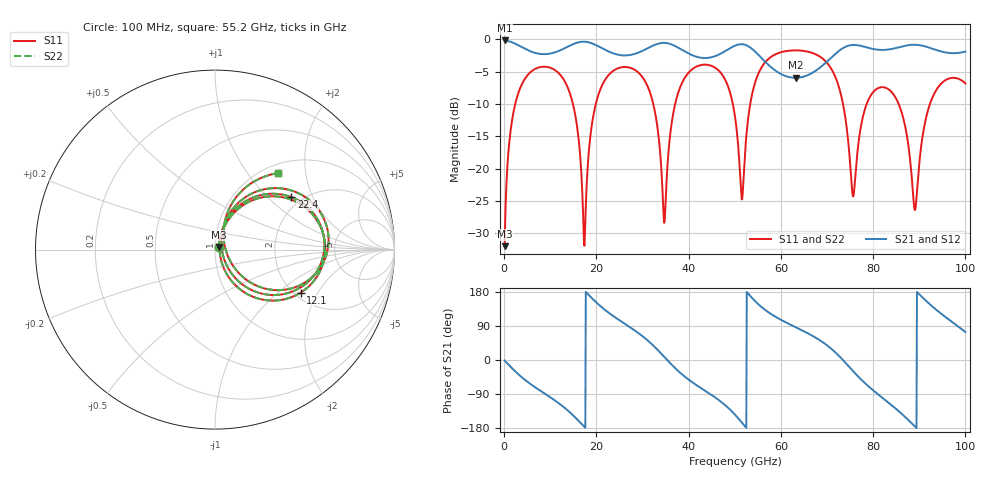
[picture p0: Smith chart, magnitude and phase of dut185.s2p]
! Touchstone file exported from HFSS 2026.1.0
!  File:  C:/ffzhzh/LocalFiles/Ansys_Project_Files/temp_train_TSV_RDL_185_1783654112_33328.aedt
!  Generated:  11:42:47 AM Jul 10, 2026
!  Design:  TSV_RDL
!  Project:  temp_train_TSV_RDL_185_1783654112_33328
! Variables:
!  h_bsmrdl = 2.72um
!  h_ox = 20um
!  h_rdl = 5um
!  h_sub = 61.2um
!  h_tmrdl = 2.96um
!  h_tsv = 61.2um
!  h_via = 3um
!  l_bsmrdl = 121.75um
!  l_sub = 3558.81um
!  l_tmrdl = 666.44um
!  m_sub = 200um
!  pitch = 54.93um
!  r_tsv = 6.49um
!  s_tmrdl = 10um
!  w_bsmrdl = 22.84um
!  w_sub = 500um
!  w_tmrdl = 19.76um
!  x_tsv_center1 = 676.32um
!  x_tsv_center2 = 820.91um
!  x_tsv_center3 = 1507.11um
!  x_tsv_center4 = 1651.7um
!  x_tsv_center5 = 2337.9um
!  x_tsv_center6 = 2482.49um
# GHz S MA R 50.000000
! Terminal data exported
! Port[1] = TM_RDL1_1_T1
! Port[2] = TM_RDL5_1_T1
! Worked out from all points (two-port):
!   1000 points, 100 MHz to 100 GHz, reference 50 ohm
!   highest |S21| = -0.18 dB at 100 MHz (marker M1); lowest = -5.9 dB at 63.2 GHz (marker M2)
!   |S21| within 3 dB of the highest: start of sweep to 56.18 GHz; 70.4 GHz to end of sweep
!   lowest |S11| = -32.0 dB at 100 MHz (marker M3), VSWR 1.05, Z = 52 + j1.54 ohm
!   |S11| at or under -10 dB: 14.91 GHz to 19.87 GHz (4.96 GHz wide, 28.5 % of centre); 73.46 GHz to 78.6 GHz (5.141 GHz wide, 6.76 % of centre); 85.53 GHz to 92.32 GHz (6.788 GHz wide, 7.63 % of centre) (the widest 3 of 6)
!   |S22| runs from -32.0 to -1.7 dB; largest |S21 - S12| = 7e-13
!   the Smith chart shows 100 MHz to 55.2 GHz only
!   S11 on the Smith chart (normalised r, x): 100 MHz: 1.04, +0.03; 12.1 GHz: 2.17, -1.45; 22.4 GHz: 1.77, +1.41; 55.2 GHz: 1.15, +1.41
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0.1  0.02514 36.1  0.9799 -1.4  0.9799 -1.4  0.02514 36.1
! Gamma 0 0 0 0
! Port Impedance 50 0 50 0
3.3  0.4045 46.6  0.8905 -40.0  0.8905 -40.0  0.4045 46.6
12.1  0.5345 -26.6  0.8206 -116.5  0.8206 -116.5  0.5345 -26.6
16.8  0.08399 -62.9  0.9569 -168.8  0.9569 -168.8  0.08398 -62.8
17.5  0.03008 34.1  0.9579 -177.7  0.9579 -177.7  0.03011 34.1
19.2  0.2408 64.2  0.9259 161.0  0.9259 161.0  0.2408 64.2
22.4  0.5164 34.5  0.8125 127.1  0.8125 127.1  0.5164 34.5
33.4  0.188 -54.7  0.9253 25.2  0.9253 25.2  0.1881 -54.7
34.8  0.03954 22.5  0.9385 7.2  0.9385 7.2  0.03965 22.4
39.9  0.5477 36.3  0.7789 -50.9  0.7789 -50.9  0.5476 36.3
50.1  0.2449 -43.8  0.8948 -145.0  0.8948 -145.0  0.245 -43.7
51.6  0.05796 21.7  0.9165 -166.0  0.9165 -166.0  0.05868 21.7
55.2  0.5517 50.5  0.7534 146.1  0.7534 146.1  0.5518 50.5
63.2  0.8215 -3.7  0.5041 86.6  0.5041 86.6  0.8215 -3.7
66.7  0.7868 -23.8  0.5474 64.9  0.5474 64.9  0.7868 -23.8
74.6  0.1619 -82.0  0.8924 -15.3  0.8924 -15.3  0.1621 -81.7
75.7  0.06102 -23.1  0.9051 -30.0  0.9051 -30.0  0.06184 -23.1
78.6  0.3161 17.8  0.8656 -65.3  0.8656 -65.3  0.3163 17.7
83.4  0.4091 -21.9  0.835 -113.1  0.835 -113.1  0.409 -22.0
89.1  0.04789 8.7  0.9074 -175.9  0.9074 -175.9  0.04795 8.8
92.9  0.3578 44.4  0.8447 140.6  0.8447 140.6  0.3579 44.3
100  0.4556 -13.6  0.8037 73.9  0.8037 73.9  0.4557 -13.7
